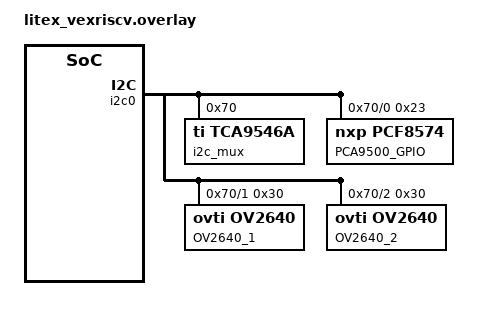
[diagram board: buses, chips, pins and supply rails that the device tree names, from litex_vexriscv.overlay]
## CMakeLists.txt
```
# Copyright (c) 2021-2022 Antmicro
# SPDX-License-Identifier: Apache-2.0

cmake_minimum_required(VERSION 3.13.1)
find_package(Zephyr REQUIRED HINTS $ENV{ZEPHYR_BASE})
project(video-overlays-app)

FILE(GLOB app_sources src/*.c)

target_include_directories(app PRIVATE include)

target_sources(app PRIVATE ${app_sources})
```

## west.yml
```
manifest:

  remotes:
    - name: zephyrproject-rtos
      url-base: https://github.com/zephyrproject-rtos
    - name: zephyrproject-antmicro
      url-base: https://github.com/antmicro
  defaults:
    remote: zephyrproject-antmicro
  projects:
    - name: zephyr
      remote: zephyrproject-antmicro
      revision: video-overlays
      import: true
```

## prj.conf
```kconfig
# Copyright (c) 2021-2022 Antmicro
# SPDX-License-Identifier: Apache-2.0

CONFIG_SHELL=y
CONFIG_SHELL_PROMPT_UART="video-overlays:~$ "

# Network
CONFIG_NET_UDP=y
CONFIG_NETWORKING=y
CONFIG_NET_IPV4=y
CONFIG_NET_SOCKETS=y
CONFIG_NET_SOCKETS_POSIX_NAMES=y
CONFIG_NET_SOCKETS_POLL_MAX=5

CONFIG_NET_CONFIG_SETTINGS=y
CONFIG_NET_CONFIG_PEER_IPV4_ADDR="192.0.2.2"
CONFIG_NET_CONFIG_MY_IPV4_ADDR="192.0.2.1"
CONFIG_NET_CONFIG_MY_IPV4_GW="192.0.2.2"

# Enable I2C MUX driver for two cameras and GPIO expander
CONFIG_I2C_TCA9546A=y
CONFIG_I2C_TCA9546_ROOT_INIT_PRIO=61
CONFIG_I2C_TCA9546_CHANNEL_INIT_PRIO=62

# Enable GPIO expander driver
CONFIG_GPIO_PCF8574=y
CONFIG_GPIO_PCF8574_INIT_PRIORITY=63

# Enable camera driver
CONFIG_VIDEO=y
CONFIG_VIDEO_OV2640=y

# Enable FastVDMA driver
CONFIG_DMA=y
CONFIG_DMA_LITEX_FASTVDMA=y

CONFIG_LOG=y
CONFIG_DMA_LOG_LEVEL_DBG=y
CONFIG_I2C_LOG_LEVEL_DBG=y
CONFIG_GPIO_LOG_LEVEL_DBG=y

#Timing subsystem
CONFIG_TIMING_FUNCTIONS=y
```

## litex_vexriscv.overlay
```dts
&uart0 {
	reg = <0xf0002800 0x20>;
	interrupts = <0x0 0>;
};

&timer0 {
	reg = <0xf0003000 0x40>;
	interrupts = <0x1 0>;
};

&eth0 {
	reg = <0xf0001800 0x6b 0x80000000 0x2000>;
	interrupts = <0x2 0>;
};

&i2c0 {
	reg = <0xf0000000 0x4 0xf0000004 0x4>;
	label = "i2c0";
	mux: tca9546a@70 {
		compatible = "ti,tca9546a";
		reg = <0x70>;
		status = "okay";
		label = "i2c_mux";
		#address-cells = <1>;
		#size-cells = <0>;

		mux_i2c@0 {
			label = "mux_dw_0";
			reg = <0>;
			status = "okay";
			#address-cells = <1>;
			#size-cells = <0>;
			compatible = "ti,tca9546a-channel";

			pcf8574@23 {
				compatible = "nxp,pcf8574";
				reg = <0x23>;
				label = "PCA9500_GPIO";
				status = "okay";
				ngpios = <8>;
				#gpio-cells = <2>;
				gpio-controller;
			};
		};

		mux_i2c@1 {
			label = "mux_dw_1";
			reg = <1>;
			status = "okay";
			#address-cells = <1>;
			#size-cells = <0>;
			compatible = "ti,tca9546a-channel";

			ov2640@30 {
				compatible = "ovti,ov2640";
				reg = <0x30>;
				label = "OV2640_1";
				status = "okay";
			};
		};

		mux_i2c@2 {
			label = "mux_dw_2";
			reg = <2>;
			status = "okay";
			#address-cells = <1>;
			#size-cells = <0>;
			compatible = "ti,tca9546a-channel";

			ov2640@30 {
				compatible = "ovti,ov2640";
				reg = <0x30>;
				label = "OV2640_2";
				status = "okay";
			};
		};
	};
};

&fastvdma_1 {
	status = "okay";
	label = "FASTVDMA_1";
	reg = <0x8000a000 0x4
		0x8000a004 0x1
		0x8000a008 0x1
		0x8000a00c 0x1
		0x8000a010 0x1
		0x8000a014 0x1
		0x8000a018 0x1
		0x8000a01c 0x1
		0x8000a020 0x1
		0x8000a024 0x1
		0x8000a028 0x1
		0x8000a02c 0x1
		0xf0000800 0x1
		0xf0000804 0x1
		0xf0000808 0x1>;
	interrupts = <0x3 0>;
};

&fastvdma_2 {
	status = "okay";
	label = "FASTVDMA_2";
	reg = <0x8000b000 0x4
		0x8000b004 0x1
		0x8000b008 0x1
		0x8000b00c 0x1
		0x8000b010 0x1
		0x8000b014 0x1
		0x8000b018 0x1
		0x8000b01c 0x1
		0x8000b020 0x1
		0x8000b024 0x1
		0x8000b028 0x1
		0x8000b02c 0x1
		0xf0001000 0x1
		0xf0001004 0x1
		0xf0001008 0x1>;
	interrupts = <0x4 0>;
};

&fastvdma_gpu_in_1 {
	status = "okay";
	label = "FASTVDMA_GPU_IN_1";
	reg = <0x8000c000 0x4
		0x8000c004 0x1
		0x8000c008 0x1
		0x8000c00c 0x1
		0x8000c010 0x1
		0x8000c014 0x1
		0x8000c018 0x1
		0x8000c01c 0x1
		0x8000c020 0x1
		0x8000c024 0x1
		0x8000c028 0x1
		0x8000c02c 0x1
		0xf0004800 0x1
		0xf0004804 0x1
		0xf0004808 0x1>;
	interrupts = <0x5 0>;
};

&fastvdma_gpu_in_2 {
	status = "okay";
	label = "FASTVDMA_GPU_IN_2";
	reg = <0x8000d000 0x4
		0x8000d004 0x1
		0x8000d008 0x1
		0x8000d00c 0x1
		0x8000d010 0x1
		0x8000d014 0x1
		0x8000d018 0x1
		0x8000d01c 0x1
		0x8000d020 0x1
		0x8000d024 0x1
		0x8000d028 0x1
		0x8000d02c 0x1
		0xf0005000 0x1
		0xf0005004 0x1
		0xf0005008 0x1>;
	interrupts = <0x6 0>;
};

&fastvdma_gpu_out {
	status = "okay";
	label = "FASTVDMA_GPU_OUT";
	reg = <0x8000e000 0x4
		0x8000e004 0x1
		0x8000e008 0x1
		0x8000e00c 0x1
		0x8000e010 0x1
		0x8000e014 0x1
		0x8000e018 0x1
		0x8000e01c 0x1
		0x8000e020 0x1
		0x8000e024 0x1
		0x8000e028 0x1
		0x8000e02c 0x1
		0xf0005800 0x1
		0xf0005804 0x1
		0xf0005808 0x1>;
	interrupts = <0x7 0>;
};

&gpio_in {
	status = "disabled";
};
```

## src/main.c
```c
/*
 * Copyright (c) 2021-2022 Antmicro
 *
 * SPDX-License-Identifier: Apache-2.0
 */

#include <zephyr.h>
#include <device.h>
#include <net/net_ip.h>
#include <stdio.h>
#include <net/socket.h>
#include <drivers/video.h>
#include <drivers/dma.h>
#include <drivers/gpio.h>
#include <timing/timing.h>

#include <logging/log.h>
LOG_MODULE_REGISTER(app);

#include "net.h"

#define OV2640_1 "OV2640_1"
#define OV2640_2 "OV2640_2"
#define FASTVDMA_1 "FASTVDMA_1"
#define FASTVDMA_2 "FASTVDMA_2"
#define FASTVDMA_GPU_IN_1 "FASTVDMA_GPU_IN_1"
#define FASTVDMA_GPU_IN_2 "FASTVDMA_GPU_IN_2"
#define FASTVDMA_GPU_OUT "FASTVDMA_GPU_OUT"
#define GPIO_EXPANDER "PCA9500_GPIO"

#define MY_STACK_SIZE 500
#define MY_PRIORITY 5

/* Implement function to flush cache memory for DMA */
#define CONFIG_L2_SIZE 8192
#define MAIN_RAM_BASE 0x40000000L

#define STACKSIZE 1024
#define PRIORITY 7

const struct device *ov2640_dev_1;
const struct device *ov2640_dev_2;
const struct device *fastvdma_dev_cam_1;
const struct device *fastvdma_dev_cam_2;
const struct device *fastvdma_dev_gpu_in_1;
const struct device *fastvdma_dev_gpu_in_2;
const struct device *fastvdma_dev_gpu_out;
const struct device *gpio_expander;

uint32_t img_buff_1[1280 * 1024];
uint32_t img_buff_2[1280 * 1024];
uint32_t img_buff_3[1280 * 1024];
uint32_t img_buff_4[1280 * 1024];
uint32_t img_buff_5[1280 * 1024];
uint32_t img_buff_6[1280 * 1024];
uint32_t img_buff_7[1280 * 1024];

uint32_t* hdmi_buffers[3] = {img_buff_1, img_buff_2, img_buff_3};
uint32_t* hdmi_buffers_overlay[3] = {img_buff_4, img_buff_5, img_buff_6};

uint32_t image_with_text[1280 * 1024];
uint32_t img_length_1 = 1280 * 1024;
uint32_t img_length_2 = 1280 * 1024;

int cam_buffer_index = 0;
int gpu_buffer_index = 0;

struct video_format fmt_1;
struct video_format fmt_2;
struct video_caps caps;

struct dma_config dma_cfg_cam1 = { 0 };
struct dma_config dma_cfg_cam2 = { 0 };
struct dma_config dma_cfg_gpu_in = { 0 };
struct dma_config dma_cfg_gpu_out = { 0 };
struct dma_block_config dma_block_cfg_cam = { 0 };
struct dma_block_config dma_block_cfg_gpu_in = { 0 };
struct dma_block_config dma_block_cfg_gpu_out = { 0 };

enum mode {cams, overlay } mode;
enum mode mode = cams;

char overlay_text[25] = "Video Overlays 2022";

const k_tid_t hdmi_id;
const k_tid_t cam_id;
const k_tid_t gpu_id;

bool suspend_hdmi = false;
bool suspend_cam = false;
bool suspend_gpu = false;


timing_t start_time_cam, end_time_cam;
timing_t start_time_gpu, end_time_gpu;
uint64_t measures_cam[100] = {0};
int n_measure_cam = 0;
uint64_t measures_gpu[100] = {0};
int n_measure_gpu = 0;

struct k_sem my_sem;

K_THREAD_DEFINE(hdmi_id, STACKSIZE, hdmi, NULL, NULL, NULL, PRIORITY, 0, 0);

K_THREAD_DEFINE(cam_id, STACKSIZE, cam, NULL, NULL, NULL, PRIORITY, 0, 0);

K_THREAD_DEFINE(gpu_id, STACKSIZE, gpu, NULL, NULL, NULL, PRIORITY, 0, 0);

void flush_l2_cache(void)
{
#ifdef CONFIG_L2_SIZE
	unsigned int i;
	for (i = 0; i < 2 * CONFIG_L2_SIZE / 4; i++) {
		((volatile unsigned int *)MAIN_RAM_BASE)[i];
	}
#endif
}

void led_chaser()
{
	int pin = 0;
	gpio_port_pins_t mask_high = 0xf;
	gpio_port_pins_t mask_low = 0x0;
	while (true) {
		if (pin == 4) {
			pin = 0;
		}

		mask_high ^= BIT(pin);
		mask_low ^= BIT(pin);

		gpio_port_set_masked(gpio_expander, mask_high, 0xf);
		gpio_port_set_masked(gpio_expander, mask_low, 0x0);

		k_msleep(110);
		pin++;
	}
}

K_THREAD_DEFINE(my_tid, MY_STACK_SIZE, led_chaser, NULL, NULL, NULL, MY_PRIORITY, 0, 0);

void print_camera_caps(const struct device *dev)
{
	if (video_get_caps(dev, VIDEO_EP_OUT, &caps)) {
		printf("Unable to retrieve video capabilities");
		return;
	}

	int i = 0;
	printk("- Capabilities:\n");
	while (caps.format_caps[i].pixelformat) {
		const struct video_format_cap *fcap = &caps.format_caps[i];
		/* fourcc to string */
		printk("  %c%c%c%c width [%u; %u; %u] height [%u; %u; %u]\n",
		       (char)fcap->pixelformat, (char)(fcap->pixelformat >> 8),
		       (char)(fcap->pixelformat >> 16), (char)(fcap->pixelformat >> 24),
		       fcap->width_min, fcap->width_max, fcap->width_step, fcap->height_min,
		       fcap->height_max, fcap->height_step);
		i++;
	}
}

int get_camera_fmt(const struct device *dev, struct video_format *fmt)
{
	/* Get default/native format - camera 1 */
	if (video_get_format(dev, VIDEO_EP_OUT, fmt)) {
		printf("Unable to retrieve video format");
		return -1;
	}

	printf("- Default format: %c%c%c%c %ux%u\n", (char)fmt->pixelformat,
	       (char)(fmt->pixelformat >> 8), (char)(fmt->pixelformat >> 16),
	       (char)(fmt->pixelformat >> 24), fmt->width, fmt->height);

	return 0;
}

void main(void)
{
	k_sem_init(&my_sem, 0, 1);
	suspend_threads();

    timing_init();
	timing_start();

	ov2640_dev_1 = device_get_binding(OV2640_1);
	ov2640_dev_2 = device_get_binding(OV2640_2);
	fastvdma_dev_cam_1 = device_get_binding(FASTVDMA_1);
	fastvdma_dev_cam_2 = device_get_binding(FASTVDMA_2);
	fastvdma_dev_gpu_in_1 = device_get_binding(FASTVDMA_GPU_IN_1);
	fastvdma_dev_gpu_in_2 = device_get_binding(FASTVDMA_GPU_IN_2);
	fastvdma_dev_gpu_out = device_get_binding(FASTVDMA_GPU_OUT);
	gpio_expander = device_get_binding(GPIO_EXPANDER);

	if (ov2640_dev_1 == NULL || ov2640_dev_2 == NULL) {
		printf("ov2640 camera binding failed.\n");
		return;
	}

	if (fastvdma_dev_cam_1 == NULL || fastvdma_dev_cam_2 == NULL) {
		printf("fastvdma binding failed.\n");
		return;
	}

	if (fastvdma_dev_gpu_in_1 == NULL || fastvdma_dev_gpu_in_2 == NULL ||
	    fastvdma_dev_gpu_out == NULL) {
		printf("GPU fastvdma binding failed.\n");
		return;
	}

	/* Initialize all 5 DMAs */
	dma_init_cam1();
	dma_init_cam2();
	dma_init_gpu_inputs();
	dma_init_gpu_output();


	print_camera_caps(ov2640_dev_1);
	print_camera_caps(ov2640_dev_2);

	get_camera_fmt(ov2640_dev_1, &fmt_1);
	get_camera_fmt(ov2640_dev_2, &fmt_2);

	if (init_socket()) {
		printf("Failed to configure sockets.\n");
		return;
	};
}
```

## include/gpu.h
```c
/* GPU */
typedef struct {
	uint8_t CR;			/* offset 0x00*/
	uint8_t FILL_CLR;	/* offset 0x04*/
	uint8_t FILL_CLR_2;	/* offset 0x08*/
	uint8_t FILL_CLR_3;	/* offset 0x0C*/
	uint8_t FILL_CLR_4;	/* offset 0x10*/
} GPU_typedef;

#ifndef CSR_BASE
#define CSR_BASE	(0xf0000000L)
#endif

/* GPU */
#define GPU_BASE	(CSR_BASE + 0x4000L)
#define GPU			((volatile GPU_typedef*) GPU_BASE)

/* GPU operating modes */
#define GPU_CR_IDLE				((uint32_t)0x00000000)
#define GPU_CR_ALPHA_BLENDER	((uint32_t)0x00000001)
#define GPU_CR_FILL_AREA		((uint32_t)0x00000002)

/* Colors */
#define CLR_RED		((uint32_t)0xFF0000FF)
#define CLR_GREEN	((uint32_t)0xFF00FF00)
#define CLR_BLUE	((uint32_t)0xFFFF0000)
```

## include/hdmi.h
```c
/*
 * Copyright (c) 2021-2022 Antmicro
 *
 * SPDX-License-Identifier: Apache-2.0
 */

#define INITIATOR_ENABLE_REG 		0x3818L
#define INITIATOR_HSCAN_HI 			0x3834L
#define INITIATOR_HSCAN_LOW 		0x3838L
#define INITIATOR_HRES_HI 			0x381cL
#define INITIATOR_HRES_LOW 			0x3820L
#define INITIATOR_HSYNC_START_HI 	0x3824L
#define INITIATOR_HSYNC_START_LOW 	0x3828L
#define INITIATOR_HSYNC_END_HI 		0x382cL
#define INITIATOR_HSYNC_END_LOW 	0x3830L
#define INITIATOR_VRES_HI 			0x383cL
#define INITIATOR_VRES_LOW 			0x3840L
#define INITIATOR_VSYNC_START_HI 	0x3844L
#define INITIATOR_VSYNC_START_LOW 	0x3848L
#define INITIATOR_VSYNC_END_HI 		0x384cL
#define INITIATOR_VSYNC_END_LOW 	0x3850L
#define INITIATOR_VSCAN_HI	 		0x3854L
#define INITIATOR_VSCAN_LOW 		0x3858L
#define INITIATOR_BASE_BYTE_0 		0x385cL
#define INITIATOR_BASE_BYTE_1 		0x3860L
#define INITIATOR_BASE_BYTE_2 		0x3864L
#define INITIATOR_BASE_BYTE_3 		0x3868L
#define INITIATOR_LENGTH_BYTE_0 	0x386cL
#define INITIATOR_LENGTH_BYTE_1 	0x3870L
#define INITIATOR_LENGTH_BYTE_2 	0x3874L
#define INITIATOR_LENGTH_BYTE_3 	0x3878L

#define CLOCKING_MMCM_RESET_REG 	0x388cL
#define CLOCKING_MMCM_REG 			0x3894L
#define CLOCKING_MMCM_DRDY_REG 		0x3898L
#define CLOCKING_MMCM_ADR_REG 		0x389cL
#define CLOCKING_MMCM_DAT_REG_HI 	0x38a0L
#define CLOCKING_MMCM_DAT_REG_LOW 	0x38a4L

#define HDMI_RESET	0x38b0L

#ifndef CSR_BASE
#define CSR_BASE 0xf0000000L
#endif

/* Default structure for HDMI timings */
struct video_timing {
	int pixel_clock;
	int h_active;
	int h_blanking;
	int h_sync_offset;
	int h_sync_width;
	int v_active;
	int v_blanking;
	int v_sync_offset;
	int v_sync_width;
	int established_timing;
	int flags;
};

/* Framebuffer timings configuration */
void fb_get_clock_md(unsigned int pixel_clock, unsigned int *best_m, unsigned int *best_d);
void fb_set_clock(unsigned int pixel_clock);
void timings_write(struct video_timing *vid_t);
void fb_clkgen_write(int m, int d);

/* Initiator configuration */
uint8_t hdmi_out0_core_initiator_enable_read(void);
void hdmi_out0_core_initiator_enable_write(uint8_t v);
uint32_t hdmi_out0_core_initiator_hscan_read();
void hdmi_out0_core_initiator_hscan_write(uint16_t v);
uint32_t hdmi_out0_core_initiator_hres_read();
void hdmi_out0_core_initiator_hres_write(uint16_t v);
uint32_t hdmi_out0_core_initiator_hsync_start_read();
void hdmi_out0_core_initiator_hsync_start_write(uint16_t v);
uint32_t hdmi_out0_core_initiator_hsync_end_read();
void hdmi_out0_core_initiator_hsync_end_write(uint16_t v);
uint32_t hdmi_out0_core_initiator_vres_read();
void hdmi_out0_core_initiator_vres_write(uint16_t v);
uint32_t hdmi_out0_core_initiator_vsync_start_read();
void hdmi_out0_core_initiator_vsync_start_write(uint16_t v);
uint32_t hdmi_out0_core_initiator_vsync_end_read();
void hdmi_out0_core_initiator_vsync_end_write(uint16_t v);
uint32_t hdmi_out0_core_initiator_vscan_read();
void hdmi_out0_core_initiator_vscan_write(uint16_t v);
uint32_t hdmi_out0_core_initiator_length_read();
void hdmi_out0_core_initiator_length_write(uint32_t v);
uint32_t hdmi_out0_core_initiator_base_read();
void hdmi_out0_core_initiator_base_write(uint32_t v);

/* MMCM configuration */
uint8_t hdmi_out0_driver_clocking_mmcm_write_read(void);
void hdmi_out0_driver_clocking_mmcm_write_write(int v);
uint8_t hdmi_out0_driver_clocking_mmcm_adr_read(void);
void hdmi_out0_driver_clocking_mmcm_adr_write(uint8_t v);
uint16_t hdmi_out0_driver_clocking_mmcm_dat_w_read(void);
void hdmi_out0_driver_clocking_mmcm_dat_w_write(uint16_t v);
uint8_t hdmi_out0_driver_clocking_mmcm_drdy_read(void);
uint8_t hdmi_out0_driver_clocking_mmcm_reset_read(void);
void hdmi_out0_driver_clocking_mmcm_reset_write(uint8_t v);
void hdmi_out0_driver_clocking_mmcm_write(int adr, int data);

/* Reset HDMI core */
void hdmi_out0_reset_write(uint8_t v);
void hdmi_out0_reset_regs();

void hdmi_out0_status();
```

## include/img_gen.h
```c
/*
 * Copyright (c) 2021-2022 Antmicro
 *
 * SPDX-License-Identifier: Apache-2.0
 */

void generate_image_with_text(uint32_t image_with_text[], int width, int height);
```

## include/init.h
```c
/*
 * Copyright (c) 2021-2022 Antmicro
 *
 * SPDX-License-Identifier: Apache-2.0
 */

extern const struct device *fastvdma_dev_cam_1;
extern const struct device *fastvdma_dev_cam_2;
extern const struct device *fastvdma_dev_gpu_in_1;
extern const struct device *fastvdma_dev_gpu_in_2;
extern const struct device *fastvdma_dev_gpu_out;
extern struct dma_config dma_cfg_cam1;
extern struct dma_config dma_cfg_cam2;
extern struct dma_config dma_cfg_gpu_in;
extern struct dma_config dma_cfg_gpu_out;
extern struct dma_block_config dma_block_cfg_cam;
extern struct dma_block_config dma_block_cfg_gpu_in;
extern struct dma_block_config dma_block_cfg_gpu_out;
extern uint32_t image_with_text[1280 * 1024];
extern uint32_t img_buff_1[1280 * 1024];
extern uint32_t img_buff_2[1280 * 1024];
extern uint32_t img_buff_3[1280 * 1024];
extern uint32_t img_buff_4[1280 * 1024];
extern uint32_t img_buff_5[1280 * 1024];
extern uint32_t img_buff_6[1280 * 1024];
extern uint32_t img_buff_7[1280 * 1024];
extern uint32_t *hdmi_buffers[3];
extern uint32_t *hdmi_buffers_overlay[3];
extern int cam_buffer_index;
extern int gpu_buffer_index;

extern int block_buff[3];
extern int blocked_buff_gpu;
extern int blocked_buff_cam;
extern bool callback_cam_block;
extern bool callback_gpu_block;

extern const k_tid_t cam_id;
extern const k_tid_t gpu_id;
extern const k_tid_t hdmi_id;

extern bool suspend_hdmi;
extern bool suspend_cam;
extern bool suspend_gpu;

extern timing_t start_time_cam, end_time_cam;
extern timing_t start_time_gpu, end_time_gpu;
extern uint64_t measures_cam[100];
extern int n_measure_cam;
extern uint64_t measures_gpu[100];
extern int n_measure_gpu;

extern enum mode mode;
extern struct k_sem my_sem;

void cam1_dma_user_callback(const struct device *dma_dev, void *arg, uint32_t id, int error_code);
void cam_with_gpu_dma_user_callback(const struct device *dma_dev, void *arg, uint32_t id, int error_code);
void cam2_dma_user_callback(const struct device *dma_dev, void *arg, uint32_t id, int error_code);
void gpu_in_dma_user_callback(const struct device *dma_dev, void *arg, uint32_t id, int error_code);
void gpu_out_dma_user_callback(const struct device *dma_dev, void *arg, uint32_t id, int error_code);
void dma_init_cam1();
void dma_init_cam2();
void dma_init_gpu_inputs();
void dma_init_gpu_output();
void hdmi(void);
void cam(void);
void gpu(void);
void suspend_threads();
void hdmi_out0_core_initiator_base_write(uint32_t v);
void hdmi_out0_core_initiator_enable_write(uint8_t v);
```

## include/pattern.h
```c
/*
 * Copyright (c) 2021-2022 Antmicro
 *
 * SPDX-License-Identifier: Apache-2.0
 */

#include <zephyr.h>
extern uint32_t img_buff_7[1280 * 1024];
#define RGB_WHITE  0x00ffffff
#define RGB_YELLOW 0x0000ffff
#define RGB_CYAN   0x00ffff00
#define RGB_GREEN  0x0000ff00
#define RGB_PURPLE 0x00ff00ff
#define RGB_RED    0x000000ff
#define RGB_BLUE   0x00ff0000
#define RGB_BLACK  0x00000000
void draw_pattern(int h_active, int v_active);
void draw_color(int h_active, int v_active, int color);
void draw_color2(int h_active, int v_active, int color);
void draw_image(int h_active, int v_active);
```

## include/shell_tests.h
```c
#include "img_gen.h"
#include "gpu.h"
#include "init.h"

extern const struct device* ov2640_dev_1;
extern const struct device* ov2640_dev_2;
extern const struct device* fastvdma_dev_cam_1;
extern const struct device* fastvdma_dev_cam_2;
extern const struct device* fastvdma_dev_gpu_in_1;
extern const struct device* fastvdma_dev_gpu_in_2;
extern const struct device* fastvdma_dev_gpu_out;
extern uint32_t img_buff_1[1280 * 1024];
extern uint32_t img_buff_2[1280 * 1024];
extern uint32_t img_buff_3[1280 * 1024];
extern uint32_t img_buff_4[1280 * 1024];
extern uint32_t img_buff_5[1280 * 1024];
extern uint32_t img_buff_6[1280 * 1024];
extern uint32_t img_buff_7[1280 * 1024];
extern uint32_t* hdmi_buffers[3];
extern uint32_t* hdmi_buffers_overlay[3];
extern uint32_t img_length_1;
extern uint32_t img_length_2;
extern struct video_format fmt_1;
extern struct video_format fmt_2;
extern struct video_caps caps;
extern struct dma_config dma_cfg_cam1;
extern struct dma_config dma_cfg_cam2;
extern struct dma_config dma_cfg_gpu_in;
extern struct dma_config dma_cfg_gpu_out;
extern struct dma_block_config dma_block_cfg_cam;
extern struct dma_block_config dma_block_cfg_gpu_in;
extern struct dma_block_config dma_block_cfg_gpu_out;
extern uint32_t image_with_text[800 * 600];

extern int cam_buffer_index;
extern int gpu_buffer_index;

extern const k_tid_t hdmi_id;
extern const k_tid_t gpu_id;
extern const k_tid_t cam_id;

extern bool suspend_hdmi;
extern bool suspend_cam;
extern bool suspend_gpu;

extern enum mode{cams, overlay} mode;
extern enum mode mode;

extern timing_t start_time_cam, end_time_cam;
extern timing_t start_time_gpu, end_time_gpu;
extern uint64_t measures_cam[100];
extern int n_measure_cam;
extern uint64_t measures_gpu[100];
extern int n_measure_gpu;

extern char* overlay_text;

extern struct k_sem my_sem;

#define CHAR_CAN 0x18
#define CHAR_DC1 0x11

void flush_l2_cache(void);
void blend_images(uint32_t read_addr1, uint32_t read_addr2, uint32_t write_addr);
```

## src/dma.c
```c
#include <sys/printk.h>
#include "dma.h"

void dma_deinit1(DMA_typedef *DMA) {
    DMA->CR = 0x0;
}

void dma_init1(DMA_typedef *DMA) {
    DMA->CR = 0x0F;
}

void dma_sanity_check1(DMA_typedef *DMA) {
    printk("CR: %u\n", DMA->CR);
    printk("SR: %u\n", DMA->SR);
    printk("IMR: %u\n", DMA->IMR);
    printk("ISR: %u\n", DMA->ISR);
    printk("RSAR: %u\n", DMA->RSAR);
    printk("RLLR: %u\n", DMA->RLLR);
    printk("RLCR: %u\n", DMA->RLCR);
    printk("RSBLR: %u\n", DMA->RSBLR);
    printk("WSAR: %u\n", DMA->WSAR);
    printk("WLLR: %u\n", DMA->WLLR);
    printk("WLCR: %u\n", DMA->WLCR);
    printk("WSBLR: %u\n", DMA->WSBLR);
}

void dma_config1(DMA_typedef *DMA, DMA_init_typedef *DMA_struct) {
    dma_reader_frontend_config1(DMA, DMA_struct);
    dma_writer_frontend_config1(DMA, DMA_struct);
}

void dma_reader_frontend_config1(DMA_typedef *DMA, DMA_init_typedef *DMA_struct) {
    DMA->RSAR = DMA_struct->read_addr;
    DMA->RLLR = DMA_struct->read_line_length;
    DMA->RLCR = DMA_struct->read_line_count;
    DMA->RSBLR = DMA_struct->read_line_stride;
}

void dma_writer_frontend_config1(DMA_typedef *DMA, DMA_init_typedef *DMA_struct) {
    DMA->WSAR = DMA_struct->write_addr;
    DMA->WLLR = DMA_struct->write_line_length;
    DMA->WLCR = DMA_struct->write_line_count;
    DMA->WSBLR = DMA_struct->write_line_stride;
}

/* END OF FILE ****************************************************************/
```

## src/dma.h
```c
#ifndef __DMA_H
#define __DMA_H

#ifdef __cplusplus
    extern "C" {
#endif /* __cplusplus */

#include <zephyr.h>
#include "litex_vexriscv.h"

/**
  * @brief DMA init structure definition
  */
typedef struct {
    uint32_t read_addr;
    uint32_t read_line_length;
    uint32_t read_line_count;
    uint32_t read_line_stride;
    uint32_t write_addr;
    uint32_t write_line_length;
    uint32_t write_line_count;
    uint32_t write_line_stride;
} DMA_init_typedef;

/* DMA initialization and configuration functions ----------------------------*/
void dma_deinit1(DMA_typedef *DMA);
void dma_init1(DMA_typedef *DMA);
void dma_sanity_check1(DMA_typedef *DMA);

void dma_config1(DMA_typedef *DMA, DMA_init_typedef *DMA_struct);
void dma_reader_frontend_config1(DMA_typedef *DMA, DMA_init_typedef *DMA_struct);
void dma_writer_frontend_config1(DMA_typedef *DMA, DMA_init_typedef *DMA_struct);

#ifdef __cplusplus
}
#endif /* __cplusplus */

#endif /* __DMA_H */

/* END OF FILE ****************************************************************/
```

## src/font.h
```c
/* Source: https://courses.cs.washington.edu/courses/cse457/98a/tech/OpenGL/font.c */

char font[][13] = {
    {0x00, 0x00, 0x00, 0x00, 0x00, 0x00, 0x00, 0x00, 0x00, 0x00, 0x00, 0x00, 0x00}, // space
    {0x00, 0x00, 0x18, 0x18, 0x00, 0x00, 0x18, 0x18, 0x18, 0x18, 0x18, 0x18, 0x18}, // !
    {0x00, 0x00, 0x00, 0x00, 0x00, 0x00, 0x00, 0x00, 0x00, 0x36, 0x36, 0x36, 0x36}, // "
    {0x00, 0x00, 0x00, 0x66, 0x66, 0xff, 0x66, 0x66, 0xff, 0x66, 0x66, 0x00, 0x00}, // #
    {0x00, 0x00, 0x18, 0x7e, 0xff, 0x1b, 0x1f, 0x7e, 0xf8, 0xd8, 0xff, 0x7e, 0x18}, // $
    {0x00, 0x00, 0x0e, 0x1b, 0xdb, 0x6e, 0x30, 0x18, 0x0c, 0x76, 0xdb, 0xd8, 0x70}, // %
    {0x00, 0x00, 0x7f, 0xc6, 0xcf, 0xd8, 0x70, 0x70, 0xd8, 0xcc, 0xcc, 0x6c, 0x38}, // &
    {0x00, 0x00, 0x00, 0x00, 0x00, 0x00, 0x00, 0x00, 0x00, 0x18, 0x1c, 0x0c, 0x0e}, // '
    {0x00, 0x00, 0x0c, 0x18, 0x30, 0x30, 0x30, 0x30, 0x30, 0x30, 0x30, 0x18, 0x0c}, // (
    {0x00, 0x00, 0x30, 0x18, 0x0c, 0x0c, 0x0c, 0x0c, 0x0c, 0x0c, 0x0c, 0x18, 0x30}, // )
    {0x00, 0x00, 0x00, 0x00, 0x99, 0x5a, 0x3c, 0xff, 0x3c, 0x5a, 0x99, 0x00, 0x00}, // *
    {0x00, 0x00, 0x00, 0x18, 0x18, 0x18, 0xff, 0xff, 0x18, 0x18, 0x18, 0x00, 0x00}, // +
    {0x00, 0x00, 0x30, 0x18, 0x1c, 0x1c, 0x00, 0x00, 0x00, 0x00, 0x00, 0x00, 0x00}, // ,
    {0x00, 0x00, 0x00, 0x00, 0x00, 0x00, 0xff, 0xff, 0x00, 0x00, 0x00, 0x00, 0x00}, // -
    {0x00, 0x00, 0x00, 0x38, 0x38, 0x00, 0x00, 0x00, 0x00, 0x00, 0x00, 0x00, 0x00}, // .
    {0x00, 0x60, 0x60, 0x30, 0x30, 0x18, 0x18, 0x0c, 0x0c, 0x06, 0x06, 0x03, 0x03}, // /
    {0x00, 0x00, 0x3c, 0x66, 0xc3, 0xe3, 0xf3, 0xdb, 0xcf, 0xc7, 0xc3, 0x66, 0x3c}, // 0
    {0x00, 0x00, 0x7e, 0x18, 0x18, 0x18, 0x18, 0x18, 0x18, 0x18, 0x78, 0x38, 0x18}, // 1
    {0x00, 0x00, 0xff, 0xc0, 0xc0, 0x60, 0x30, 0x18, 0x0c, 0x06, 0x03, 0xe7, 0x7e}, // 2
    {0x00, 0x00, 0x7e, 0xe7, 0x03, 0x03, 0x07, 0x7e, 0x07, 0x03, 0x03, 0xe7, 0x7e}, // 3
    {0x00, 0x00, 0x0c, 0x0c, 0x0c, 0x0c, 0x0c, 0xff, 0xcc, 0x6c, 0x3c, 0x1c, 0x0c}, // 4
    {0x00, 0x00, 0x7e, 0xe7, 0x03, 0x03, 0x07, 0xfe, 0xc0, 0xc0, 0xc0, 0xc0, 0xff}, // 5
    {0x00, 0x00, 0x7e, 0xe7, 0xc3, 0xc3, 0xc7, 0xfe, 0xc0, 0xc0, 0xc0, 0xe7, 0x7e}, // 6
    {0x00, 0x00, 0x30, 0x30, 0x30, 0x30, 0x18, 0x0c, 0x06, 0x03, 0x03, 0x03, 0xff}, // 7
    {0x00, 0x00, 0x7e, 0xe7, 0xc3, 0xc3, 0xe7, 0x7e, 0xe7, 0xc3, 0xc3, 0xe7, 0x7e}, // 8
    {0x00, 0x00, 0x7e, 0xe7, 0x03, 0x03, 0x03, 0x7f, 0xe7, 0xc3, 0xc3, 0xe7, 0x7e}, // 9
    {0x00, 0x00, 0x00, 0x38, 0x38, 0x00, 0x00, 0x38, 0x38, 0x00, 0x00, 0x00, 0x00}, // :
    {0x00, 0x00, 0x30, 0x18, 0x1c, 0x1c, 0x00, 0x00, 0x1c, 0x1c, 0x00, 0x00, 0x00}, // ;
    {0x00, 0x00, 0x06, 0x0c, 0x18, 0x30, 0x60, 0xc0, 0x60, 0x30, 0x18, 0x0c, 0x06}, // <
    {0x00, 0x00, 0x00, 0x00, 0xff, 0xff, 0x00, 0xff, 0xff, 0x00, 0x00, 0x00, 0x00}, // =
    {0x00, 0x00, 0x60, 0x30, 0x18, 0x0c, 0x06, 0x03, 0x06, 0x0c, 0x18, 0x30, 0x60}, // >
    {0x00, 0x00, 0x18, 0x00, 0x00, 0x18, 0x18, 0x0c, 0x06, 0x03, 0xc3, 0xc3, 0x7e}, // ?
    {0x00, 0x00, 0x3f, 0x60, 0xcf, 0xdb, 0xd3, 0xdd, 0xc3, 0x7e, 0x00, 0x00, 0x00}, // @
    {0x00, 0x00, 0xc3, 0xc3, 0xc3, 0xc3, 0xff, 0xc3, 0xc3, 0xc3, 0x66, 0x3c, 0x18}, // A
    {0x00, 0x00, 0xfe, 0xc7, 0xc3, 0xc3, 0xc7, 0xfe, 0xc7, 0xc3, 0xc3, 0xc7, 0xfe}, // B
    {0x00, 0x00, 0x7e, 0xe7, 0xc0, 0xc0, 0xc0, 0xc0, 0xc0, 0xc0, 0xc0, 0xe7, 0x7e}, // C
    {0x00, 0x00, 0xfc, 0xce, 0xc7, 0xc3, 0xc3, 0xc3, 0xc3, 0xc3, 0xc7, 0xce, 0xfc}, // D
    {0x00, 0x00, 0xff, 0xc0, 0xc0, 0xc0, 0xc0, 0xfc, 0xc0, 0xc0, 0xc0, 0xc0, 0xff}, // E
    {0x00, 0x00, 0xc0, 0xc0, 0xc0, 0xc0, 0xc0, 0xc0, 0xfc, 0xc0, 0xc0, 0xc0, 0xff}, // F
    {0x00, 0x00, 0x7e, 0xe7, 0xc3, 0xc3, 0xcf, 0xc0, 0xc0, 0xc0, 0xc0, 0xe7, 0x7e}, // G
    {0x00, 0x00, 0xc3, 0xc3, 0xc3, 0xc3, 0xc3, 0xff, 0xc3, 0xc3, 0xc3, 0xc3, 0xc3}, // H
    {0x00, 0x00, 0x7e, 0x18, 0x18, 0x18, 0x18, 0x18, 0x18, 0x18, 0x18, 0x18, 0x7e}, // I
    {0x00, 0x00, 0x7c, 0xee, 0xc6, 0x06, 0x06, 0x06, 0x06, 0x06, 0x06, 0x06, 0x06}, // J
    {0x00, 0x00, 0xc3, 0xc6, 0xcc, 0xd8, 0xf0, 0xe0, 0xf0, 0xd8, 0xcc, 0xc6, 0xc3}, // K
    {0x00, 0x00, 0xff, 0xc0, 0xc0, 0xc0, 0xc0, 0xc0, 0xc0, 0xc0, 0xc0, 0xc0, 0xc0}, // L
    {0x00, 0x00, 0xc3, 0xc3, 0xc3, 0xc3, 0xc3, 0xc3, 0xdb, 0xff, 0xff, 0xe7, 0xc3}, // M
    {0x00, 0x00, 0xc7, 0xc7, 0xcf, 0xcf, 0xdf, 0xdb, 0xfb, 0xf3, 0xf3, 0xe3, 0xe3}, // N
    {0x00, 0x00, 0x7e, 0xe7, 0xc3, 0xc3, 0xc3, 0xc3, 0xc3, 0xc3, 0xc3, 0xe7, 0x7e}, // O
    {0x00, 0x00, 0xc0, 0xc0, 0xc0, 0xc0, 0xc0, 0xfe, 0xc7, 0xc3, 0xc3, 0xc7, 0xfe}, // P
    {0x00, 0x00, 0x3f, 0x6e, 0xdf, 0xdb, 0xc3, 0xc3, 0xc3, 0xc3, 0xc3, 0x66, 0x3c}, // Q
    {0x00, 0x00, 0xc3, 0xc6, 0xcc, 0xd8, 0xf0, 0xfe, 0xc7, 0xc3, 0xc3, 0xc7, 0xfe}, // R
    {0x00, 0x00, 0x7e, 0xe7, 0x03, 0x03, 0x07, 0x7e, 0xe0, 0xc0, 0xc0, 0xe7, 0x7e}, // S
    {0x00, 0x00, 0x18, 0x18, 0x18, 0x18, 0x18, 0x18, 0x18, 0x18, 0x18, 0x18, 0xff}, // T
    {0x00, 0x00, 0x7e, 0xe7, 0xc3, 0xc3, 0xc3, 0xc3, 0xc3, 0xc3, 0xc3, 0xc3, 0xc3}, // U
    {0x00, 0x00, 0x18, 0x3c, 0x3c, 0x66, 0x66, 0xc3, 0xc3, 0xc3, 0xc3, 0xc3, 0xc3}, // V
    {0x00, 0x00, 0xc3, 0xe7, 0xff, 0xff, 0xdb, 0xdb, 0xc3, 0xc3, 0xc3, 0xc3, 0xc3}, // W
    {0x00, 0x00, 0xc3, 0x66, 0x66, 0x3c, 0x3c, 0x18, 0x3c, 0x3c, 0x66, 0x66, 0xc3}, // X
    {0x00, 0x00, 0x18, 0x18, 0x18, 0x18, 0x18, 0x18, 0x3c, 0x3c, 0x66, 0x66, 0xc3}, // Y
    {0x00, 0x00, 0xff, 0xc0, 0xc0, 0x60, 0x30, 0x7e, 0x0c, 0x06, 0x03, 0x03, 0xff}, // Z
    {0x00, 0x00, 0x3c, 0x30, 0x30, 0x30, 0x30, 0x30, 0x30, 0x30, 0x30, 0x30, 0x3c}, // [
    {0x00, 0x03, 0x03, 0x06, 0x06, 0x0c, 0x0c, 0x18, 0x18, 0x30, 0x30, 0x60, 0x60}, // backslash
    {0x00, 0x00, 0x3c, 0x0c, 0x0c, 0x0c, 0x0c, 0x0c, 0x0c, 0x0c, 0x0c, 0x0c, 0x3c}, // ]
    {0x00, 0x00, 0x00, 0x00, 0x00, 0x00, 0x00, 0x00, 0x00, 0xc3, 0x66, 0x3c, 0x18}, // ^
    {0xff, 0xff, 0x00, 0x00, 0x00, 0x00, 0x00, 0x00, 0x00, 0x00, 0x00, 0x00, 0x00}, // _
    {0x00, 0x00, 0x00, 0x00, 0x00, 0x00, 0x00, 0x00, 0x00, 0x18, 0x38, 0x30, 0x70}, // `
    {0x00, 0x00, 0x7f, 0xc3, 0xc3, 0x7f, 0x03, 0xc3, 0x7e, 0x00, 0x00, 0x00, 0x00}, // a
    {0x00, 0x00, 0xfe, 0xc3, 0xc3, 0xc3, 0xc3, 0xfe, 0xc0, 0xc0, 0xc0, 0xc0, 0xc0}, // b
    {0x00, 0x00, 0x7e, 0xc3, 0xc0, 0xc0, 0xc0, 0xc3, 0x7e, 0x00, 0x00, 0x00, 0x00}, // c
    {0x00, 0x00, 0x7f, 0xc3, 0xc3, 0xc3, 0xc3, 0x7f, 0x03, 0x03, 0x03, 0x03, 0x03}, // d
    {0x00, 0x00, 0x7f, 0xc0, 0xc0, 0xfe, 0xc3, 0xc3, 0x7e, 0x00, 0x00, 0x00, 0x00}, // e
    {0x00, 0x00, 0x30, 0x30, 0x30, 0x30, 0x30, 0xfc, 0x30, 0x30, 0x30, 0x33, 0x1e}, // f
    {0x7e, 0xc3, 0x03, 0x03, 0x7f, 0xc3, 0xc3, 0xc3, 0x7e, 0x00, 0x00, 0x00, 0x00}, // g
    {0x00, 0x00, 0xc3, 0xc3, 0xc3, 0xc3, 0xc3, 0xc3, 0xfe, 0xc0, 0xc0, 0xc0, 0xc0}, // h
    {0x00, 0x00, 0x18, 0x18, 0x18, 0x18, 0x18, 0x18, 0x18, 0x00, 0x00, 0x18, 0x00}, // i
    {0x38, 0x6c, 0x0c, 0x0c, 0x0c, 0x0c, 0x0c, 0x0c, 0x0c, 0x00, 0x00, 0x0c, 0x00}, // j
    {0x00, 0x00, 0xc6, 0xcc, 0xf8, 0xf0, 0xd8, 0xcc, 0xc6, 0xc0, 0xc0, 0xc0, 0xc0}, // k
    {0x00, 0x00, 0x7e, 0x18, 0x18, 0x18, 0x18, 0x18, 0x18, 0x18, 0x18, 0x18, 0x78}, // l
    {0x00, 0x00, 0xdb, 0xdb, 0xdb, 0xdb, 0xdb, 0xdb, 0xfe, 0x00, 0x00, 0x00, 0x00}, // m
    {0x00, 0x00, 0xc6, 0xc6, 0xc6, 0xc6, 0xc6, 0xc6, 0xfc, 0x00, 0x00, 0x00, 0x00}, // n
    {0x00, 0x00, 0x7c, 0xc6, 0xc6, 0xc6, 0xc6, 0xc6, 0x7c, 0x00, 0x00, 0x00, 0x00}, // o
    {0xc0, 0xc0, 0xc0, 0xfe, 0xc3, 0xc3, 0xc3, 0xc3, 0xfe, 0x00, 0x00, 0x00, 0x00}, // p
    {0x03, 0x03, 0x03, 0x7f, 0xc3, 0xc3, 0xc3, 0xc3, 0x7f, 0x00, 0x00, 0x00, 0x00}, // q
    {0x00, 0x00, 0xc0, 0xc0, 0xc0, 0xc0, 0xc0, 0xe0, 0xfe, 0x00, 0x00, 0x00, 0x00}, // r
    {0x00, 0x00, 0xfe, 0x03, 0x03, 0x7e, 0xc0, 0xc0, 0x7f, 0x00, 0x00, 0x00, 0x00}, // s
    {0x00, 0x00, 0x1c, 0x36, 0x30, 0x30, 0x30, 0x30, 0xfc, 0x30, 0x30, 0x30, 0x00}, // t
    {0x00, 0x00, 0x7e, 0xc6, 0xc6, 0xc6, 0xc6, 0xc6, 0xc6, 0x00, 0x00, 0x00, 0x00}, // u
    {0x00, 0x00, 0x18, 0x3c, 0x3c, 0x66, 0x66, 0xc3, 0xc3, 0x00, 0x00, 0x00, 0x00}, // v
    {0x00, 0x00, 0xc3, 0xe7, 0xff, 0xdb, 0xc3, 0xc3, 0xc3, 0x00, 0x00, 0x00, 0x00}, // w
    {0x00, 0x00, 0xc3, 0x66, 0x3c, 0x18, 0x3c, 0x66, 0xc3, 0x00, 0x00, 0x00, 0x00}, // x
    {0xc0, 0x60, 0x60, 0x30, 0x18, 0x3c, 0x66, 0x66, 0xc3, 0x00, 0x00, 0x00, 0x00}, // y
    {0x00, 0x00, 0xff, 0x60, 0x30, 0x18, 0x0c, 0x06, 0xff, 0x00, 0x00, 0x00, 0x00}, // z
    {0x00, 0x00, 0x0f, 0x18, 0x18, 0x18, 0x38, 0xf0, 0x38, 0x18, 0x18, 0x18, 0x0f}, // {
    {0x18, 0x18, 0x18, 0x18, 0x18, 0x18, 0x18, 0x18, 0x18, 0x18, 0x18, 0x18, 0x18}, // |
    {0x00, 0x00, 0xf0, 0x18, 0x18, 0x18, 0x1c, 0x0f, 0x1c, 0x18, 0x18, 0x18, 0xf0}, // }
    {0x00, 0x00, 0x00, 0x00, 0x00, 0x00, 0x06, 0x8f, 0xf1, 0x60, 0x00, 0x00, 0x00}, // ~
};
```

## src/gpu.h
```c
#ifndef __GPU_H
#define __GPU_H

#ifdef __cplusplus
    extern "C" {
#endif /* __cplusplus */

/* GPU operating modes */
#define GPU_CR_IDLE             ((uint32_t)0x00000000)
#define GPU_CR_ALPHA_BLENDER    ((uint32_t)0x00000001)
#define GPU_CR_FILL_AREA        ((uint32_t)0x00000002)

/* Colors */
#define CLR_RED                 ((uint32_t)0xFF0000FF)
#define CLR_GREEN               ((uint32_t)0xFF00FF00)
#define CLR_BLUE                ((uint32_t)0xFFFF0000)

#ifdef __cplusplus
}
#endif /* __cplusplus */

#endif  /* __GPU_H */

/* END OF FILE ****************************************************************/
```

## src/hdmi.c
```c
#include <zephyr.h>
#include <stdio.h>
#include <stdlib.h>

#include "hdmi.h"

/* Common read/write functions */
unsigned int read_reg(unsigned int offset) {
	volatile unsigned int *reg = (unsigned int*)(CSR_BASE + offset);
	return *reg;
}

void write_reg(unsigned int to_write, unsigned int offset){
	volatile unsigned int *reg = (unsigned int*)(CSR_BASE + offset);
	*reg = to_write;
}

/* Framebuffer timings configuration */
void fb_get_clock_md(unsigned int pixel_clock, unsigned int *best_m, unsigned int *best_d)
{
	unsigned int max_m, max_d;
	unsigned int ideal_m, ideal_d;
	unsigned int bm, bd;
	unsigned int m, d;
	unsigned int diff_current;
	unsigned int diff_tested;
	ideal_m = pixel_clock;
	bm = 1;
	bd = 0;
	pixel_clock = pixel_clock * 10;
	ideal_d = 1000;
	max_d = 128;
	max_m = 128;
	for(d=1;d<=max_d;d++)
		for(m=2;m<=max_m;m++) {
			/* common denominator is d*bd*ideal_d */
			diff_current = abs(d*ideal_d*bm - d*bd*ideal_m);
			diff_tested = abs(bd*ideal_d*m - d*bd*ideal_m);
			if(diff_tested < diff_current) {
				bm = m;
				bd = d;
			}
		}
	*best_m = bm;
	*best_d = bd;
}

void mmcm_config_for_clock(int pixel_clock)
{
	if(pixel_clock < 3000) {
		printf("Frequency too low for input MMCMs\n");
	}
	else if(pixel_clock < 6000) {
		hdmi_out0_driver_clocking_mmcm_write(0x14, 0x1000 | (10<<6) | 10); /* clkfbout_mult  = 20 */
		hdmi_out0_driver_clocking_mmcm_write(0x08, 0x1000 | (10<<6) | 10); /* clkout0_divide = 20 */
		hdmi_out0_driver_clocking_mmcm_write(0x0a, 0x1000 |  (8<<6) |  8); /* clkout1_divide = 16 */
		hdmi_out0_driver_clocking_mmcm_write(0x0c, 0x1000 |  (2<<6) |  2); /* clkout2_divide =  4 */
		hdmi_out0_driver_clocking_mmcm_write(0x0d, 0);                     /* clkout2_divide =  4 */
	}
	else if(pixel_clock < 12000) {
		hdmi_out0_driver_clocking_mmcm_write(0x14, 0x1000 |  (5<<6) | 5); /* clkfbout_mult  = 10 */
		hdmi_out0_driver_clocking_mmcm_write(0x08, 0x1000 |  (5<<6) | 5); /* clkout0_divide = 10 */
		hdmi_out0_driver_clocking_mmcm_write(0x0a, 0x1000 |  (4<<6) | 4); /* clkout1_divide =  8 */
		hdmi_out0_driver_clocking_mmcm_write(0x0c, 0x1000 |  (1<<6) | 1); /* clkout2_divide =  2 */
		hdmi_out0_driver_clocking_mmcm_write(0x0d, 0);                    /* clkout2_divide =  2 */
	}
	else if(pixel_clock < 24000){
		hdmi_out0_driver_clocking_mmcm_write(0x14, 0x1000 |  (2<<6) | 3);  /* clkfbout_mult  = 5 */
		hdmi_out0_driver_clocking_mmcm_write(0x08, 0x1000 |  (2<<6) | 3);  /* clkout0_divide = 5 */
		hdmi_out0_driver_clocking_mmcm_write(0x0a, 0x1000 |  (2<<6) | 2);  /* clkout1_divide = 4 */
		hdmi_out0_driver_clocking_mmcm_write(0x0c, 0x1000 |  (0<<6) | 0);  /* clkout2_divide = 1 */
		hdmi_out0_driver_clocking_mmcm_write(0x0d, (1<<6));                /* clkout2_divide = 1 */
	}
	else {
		printf("Frequency too high for input MMCMs\n");
	}
}

void fb_set_clock(unsigned int pixel_clock)
{
	unsigned int clock_m, clock_d;
	fb_get_clock_md(pixel_clock, &clock_m, &clock_d);
	fb_clkgen_write(clock_m, clock_d);
}

void timings_write(struct video_timing *vid_t){
	unsigned int hdmi_out0_enabled;
	if (hdmi_out0_core_initiator_enable_read()) {
		hdmi_out0_enabled = 1;
		hdmi_out0_core_initiator_enable_write(0);
	}
	hdmi_out0_driver_clocking_mmcm_reset_write(1);
	mmcm_config_for_clock(vid_t->pixel_clock);

	hdmi_out0_core_initiator_hres_write(vid_t->h_active);
	hdmi_out0_core_initiator_hsync_start_write(vid_t->h_active + vid_t->h_sync_offset);
	hdmi_out0_core_initiator_hsync_end_write(vid_t->h_active + vid_t->h_sync_offset + vid_t->h_sync_width);
	hdmi_out0_core_initiator_hscan_write(vid_t->h_active + vid_t->h_blanking);
	hdmi_out0_core_initiator_vres_write(vid_t->v_active);
	hdmi_out0_core_initiator_vsync_start_write(vid_t->v_active + vid_t->v_sync_offset);
	hdmi_out0_core_initiator_vsync_end_write(vid_t->v_active + vid_t->v_sync_offset + vid_t->v_sync_width);
	hdmi_out0_core_initiator_vscan_write(vid_t->v_active + vid_t->v_blanking);
	hdmi_out0_core_initiator_length_write(vid_t->h_active*vid_t->v_active*4);
	hdmi_out0_core_initiator_base_write(0);
	fb_set_clock(vid_t->pixel_clock);
	hdmi_out0_driver_clocking_mmcm_reset_write(0);
	hdmi_out0_core_initiator_enable_write(hdmi_out0_enabled);
}

void fb_clkgen_write(int m, int d)
{
	/* MMCM VCO range for slowest speed grade Artix-7 is 600MHz-1200MHz
	   Warn if the VCO strays outside these limits.*/
	if ((((m*100)/d) > 1200) || (((m*100)/d) < 600)) {
		printk(
			"WARNING: VCO freq (%uMHz) outside 600MHz-1200MHz range\n"
			"          M: %d, D: %d\n",
			(m*100)/d, m, d);
	} else {
		printk(
			"INFO: VCO freq: %uMHz, M: %d, D: %d\n", (m*100)/d, m, d);
	}
	/* clkfbout_mult = m */

	if(m%2){
		hdmi_out0_driver_clocking_mmcm_write(0x14, 0x1000 | ((m/2)<<6) | (m/2 + 1));
	}
	else{
		hdmi_out0_driver_clocking_mmcm_write(0x14, 0x1000 | ((m/2)<<6) | m/2);
	}
	/* divclk_divide = d */
	if (d == 1)
		hdmi_out0_driver_clocking_mmcm_write(0x16, 0x1000);
	else if(d%2)
		hdmi_out0_driver_clocking_mmcm_write(0x16, ((d/2)<<6) | (d/2 + 1));
	else
		hdmi_out0_driver_clocking_mmcm_write(0x16, ((d/2)<<6) | d/2);
	/* clkout0_divide = 10 */
	hdmi_out0_driver_clocking_mmcm_write(0x8, 0x1000 | (5<<6) | 5);
	/* clkout1_driver_clocking_divide = 2; */
	hdmi_out0_driver_clocking_mmcm_write(0xa, 0x1000 | (1<<6) | 1);
}


/* Initiator configuration */
uint8_t hdmi_out0_core_initiator_enable_read(void){
	return read_reg(INITIATOR_ENABLE_REG);
}

void hdmi_out0_core_initiator_enable_write(uint8_t v){
	write_reg(v, INITIATOR_ENABLE_REG);
}

void hdmi_out0_core_initiator_hscan_write(uint16_t v){
	write_reg(v >> 8, INITIATOR_HSCAN_HI);
	write_reg(v, INITIATOR_HSCAN_LOW);
}

uint32_t hdmi_out0_core_initiator_hscan_read(){
	return read_reg(INITIATOR_HSCAN_HI) << 8 |
			read_reg(INITIATOR_HSCAN_LOW);
}

void hdmi_out0_core_initiator_hres_write(uint16_t v){
	write_reg(v >> 8, INITIATOR_HRES_HI);
	write_reg(v, INITIATOR_HRES_LOW);
}

uint32_t hdmi_out0_core_initiator_hres_read(){
	return read_reg(INITIATOR_HRES_HI) << 8 |
			read_reg(INITIATOR_HRES_LOW);
}

void hdmi_out0_core_initiator_hsync_start_write(uint16_t v){
	write_reg(v >> 8, INITIATOR_HSYNC_START_HI);
	write_reg(v, INITIATOR_HSYNC_START_LOW);
}

uint32_t hdmi_out0_core_initiator_hsync_start_read(){
	return read_reg(INITIATOR_HSYNC_START_HI) << 8 |
			read_reg(INITIATOR_HSYNC_START_LOW);
}

void hdmi_out0_core_initiator_hsync_end_write(uint16_t v){
	write_reg(v >> 8, INITIATOR_HSYNC_END_HI);
	write_reg(v, INITIATOR_HSYNC_END_LOW);
}

uint32_t hdmi_out0_core_initiator_hsync_end_read(){
	return read_reg(INITIATOR_HSYNC_END_HI) << 8 |
			read_reg(INITIATOR_HSYNC_END_LOW);
}

void hdmi_out0_core_initiator_vres_write(uint16_t v){
	write_reg(v >> 8, INITIATOR_VRES_HI);
	write_reg(v, INITIATOR_VRES_LOW);
}

uint32_t hdmi_out0_core_initiator_vres_read(){
	return read_reg(INITIATOR_VRES_HI) << 8 |
			read_reg(INITIATOR_VRES_LOW);
}

void hdmi_out0_core_initiator_vsync_start_write(uint16_t v){
	write_reg(v >> 8, INITIATOR_VSYNC_START_HI);
	write_reg(v, INITIATOR_VSYNC_START_LOW);
}

uint32_t hdmi_out0_core_initiator_vsync_start_read(){
	return read_reg(INITIATOR_VSYNC_START_HI) << 8 |
			read_reg(INITIATOR_VSYNC_START_LOW);
}

void hdmi_out0_core_initiator_vsync_end_write(uint16_t v){
	write_reg(v >> 8, INITIATOR_VSYNC_END_HI);
	write_reg(v, INITIATOR_VSYNC_END_LOW);
}

uint32_t hdmi_out0_core_initiator_vsync_end_read(){
	return read_reg(INITIATOR_VSYNC_END_HI) << 8 |
			read_reg(INITIATOR_VSYNC_END_LOW);
}

void hdmi_out0_core_initiator_vscan_write(uint16_t v){
	write_reg(v >> 8, INITIATOR_VSCAN_HI);
	write_reg(v, INITIATOR_VSCAN_LOW);
}

uint32_t hdmi_out0_core_initiator_vscan_read(){
	return read_reg(INITIATOR_VSCAN_HI) << 8 |
			read_reg(INITIATOR_VSCAN_LOW);
}

void hdmi_out0_core_initiator_length_write(uint32_t v){
	write_reg(v >> 24, INITIATOR_LENGTH_BYTE_0);
	write_reg(v >> 16, INITIATOR_LENGTH_BYTE_1);
	write_reg(v >> 8, INITIATOR_LENGTH_BYTE_2);
	write_reg(v, INITIATOR_LENGTH_BYTE_3);
}

uint32_t hdmi_out0_core_initiator_length_read(){
	return read_reg(INITIATOR_LENGTH_BYTE_0) << 24 |
			read_reg(INITIATOR_LENGTH_BYTE_1) << 16 |
			read_reg(INITIATOR_LENGTH_BYTE_2) << 8 |
			read_reg(INITIATOR_LENGTH_BYTE_3);
}

void hdmi_out0_core_initiator_base_write(uint32_t v){
	write_reg(v >> 24, INITIATOR_BASE_BYTE_0);
	write_reg(v >> 16, INITIATOR_BASE_BYTE_1);
	write_reg(v >> 8, INITIATOR_BASE_BYTE_2);
	write_reg(v, INITIATOR_BASE_BYTE_3);
}

uint32_t hdmi_out0_core_initiator_base_read(){
	return read_reg(INITIATOR_BASE_BYTE_0) << 24 |
			read_reg(INITIATOR_BASE_BYTE_1) << 16 |
			read_reg(INITIATOR_BASE_BYTE_2) << 8 |
			read_reg(INITIATOR_BASE_BYTE_3);
}

/* MMCM configuration */
uint8_t hdmi_out0_driver_clocking_mmcm_write_read(void){
	return read_reg(CLOCKING_MMCM_REG);
}
void hdmi_out0_driver_clocking_mmcm_write_write(int v){
	write_reg(v, CLOCKING_MMCM_REG);
}

uint8_t hdmi_out0_driver_clocking_mmcm_adr_read(void){
	return read_reg(CLOCKING_MMCM_ADR_REG);
}
void hdmi_out0_driver_clocking_mmcm_adr_write(uint8_t v){
	write_reg(v, CLOCKING_MMCM_ADR_REG);
}

uint16_t hdmi_out0_driver_clocking_mmcm_dat_w_read(void){
	return read_reg(CLOCKING_MMCM_DAT_REG_HI) << 8 |
			read_reg(CLOCKING_MMCM_DAT_REG_LOW);
}
void hdmi_out0_driver_clocking_mmcm_dat_w_write(uint16_t v){
	write_reg(v >> 8, CLOCKING_MMCM_DAT_REG_HI);
	write_reg(v, CLOCKING_MMCM_DAT_REG_LOW);
}

uint8_t hdmi_out0_driver_clocking_mmcm_drdy_read(void){
	return read_reg(CLOCKING_MMCM_DRDY_REG);
}

uint8_t hdmi_out0_driver_clocking_mmcm_reset_read(void){
	return read_reg(CLOCKING_MMCM_RESET_REG);
}
void hdmi_out0_driver_clocking_mmcm_reset_write(uint8_t v){
	write_reg(v, CLOCKING_MMCM_RESET_REG);
}

void hdmi_out0_driver_clocking_mmcm_write(int adr, int data)
{
	hdmi_out0_driver_clocking_mmcm_adr_write(adr);
	hdmi_out0_driver_clocking_mmcm_dat_w_write(data);
	hdmi_out0_driver_clocking_mmcm_write_write(1);
	while(!hdmi_out0_driver_clocking_mmcm_drdy_read());
}

void hdmi_out0_reset_write(uint8_t v)
{
	write_reg(v, HDMI_RESET);
}

void hdmi_out0_reset_regs()
{
	hdmi_out0_core_initiator_hres_write(0);
	hdmi_out0_core_initiator_hsync_start_write(0);
	hdmi_out0_core_initiator_hsync_end_write(0);
	hdmi_out0_core_initiator_hscan_write(0);
	hdmi_out0_core_initiator_vres_write(0);
	hdmi_out0_core_initiator_vsync_start_write(0);
	hdmi_out0_core_initiator_vsync_end_write(0);
	hdmi_out0_core_initiator_vscan_write(0);
	hdmi_out0_core_initiator_length_write(0);
	hdmi_out0_core_initiator_base_write(0);
	hdmi_out0_core_initiator_enable_write(0);

	hdmi_out0_driver_clocking_mmcm_write(0x14, 0);
	hdmi_out0_driver_clocking_mmcm_write(0x16, 0);
	hdmi_out0_driver_clocking_mmcm_write(0x8, 0);
	hdmi_out0_driver_clocking_mmcm_write(0xa, 0);
}

void hdmi_out0_status()
{
	printf("===== HDMI configuration =====\n");
	printf("enable: 0x%x\n", hdmi_out0_core_initiator_enable_read());
	printf("hscan: 0x%x\n", hdmi_out0_core_initiator_hscan_read());
	printf("hres: 0x%x\n", hdmi_out0_core_initiator_hres_read());
	printf("vres: 0x%x\n", hdmi_out0_core_initiator_vres_read());
	printf("hsync_start: 0x%x\n", hdmi_out0_core_initiator_hsync_start_read());
	printf("hsync_end: 0x%x\n", hdmi_out0_core_initiator_hsync_end_read());
	printf("vsync_start: 0x%x\n", hdmi_out0_core_initiator_vsync_start_read());
	printf("vsync_end: 0x%x\n", hdmi_out0_core_initiator_vsync_end_read());
	printf("vscan: 0x%x\n", hdmi_out0_core_initiator_vscan_read());
	printf("length: 0x%x\n", hdmi_out0_core_initiator_length_read());
	printf("base: 0x%x\n\n", hdmi_out0_core_initiator_base_read());

	printf("===== MMCM configuration =====\n");
	printf("write: 0x%x\n", hdmi_out0_driver_clocking_mmcm_write_read());
	printf("adr: 0x%x\n", hdmi_out0_driver_clocking_mmcm_adr_read());
	printf("dat_w: 0x%x\n", hdmi_out0_driver_clocking_mmcm_dat_w_read());
	printf("drdy: 0x%x\n", hdmi_out0_driver_clocking_mmcm_drdy_read());
	printf("reset: 0x%x\n\n", hdmi_out0_driver_clocking_mmcm_reset_read());
}
```

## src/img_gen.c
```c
/*
 * Copyright (c) 2021-2022 Antmicro
 *
 * SPDX-License-Identifier: Apache-2.0
 */

#include <zephyr.h>
#include <string.h>

#include "font.h"

extern char overlay_text[25];

void generate_image_with_text(uint32_t image_with_text[], int width, int height)
{
	int color = 0xff000000; // black
	int text_len = strlen(overlay_text);

	for (int i = 0; i < width * height; i++) {
		image_with_text[i] = 0;
	}

	for(int k = 0; k < text_len; k++) {
		int v_offset;
		int h_offset = 10;
		int character = overlay_text[k] - ' ';

		if(width < 480) {
			v_offset = height - 30;
		} else {
			v_offset = height - 70;
		}

		/* Write at [v_offset * width][h_offset + char_offset + char_bit] */
		for(int i = 12; i >= 0; i --) {
			if(width < 480) {
				if ((font[character][i] >> 7) & 1) {
					image_with_text[v_offset * width + h_offset + (k * 13) + 0] = color;
				}
				if ((font[character][i] >> 6) & 1) {
					image_with_text[v_offset * width + h_offset + (k * 13) + 1] = color;
				}
				if ((font[character][i] >> 5) & 1) {
					image_with_text[v_offset * width + h_offset + (k * 13) + 2] = color;
				}
				if ((font[character][i] >> 4) & 1) {
					image_with_text[v_offset * width + h_offset + (k * 13) + 3] = color;
				}
				if ((font[character][i] >> 3) & 1) {
					image_with_text[v_offset * width + h_offset + (k * 13) + 4] = color;
				}
				if ((font[character][i] >> 2) & 1) {
					image_with_text[v_offset * width + h_offset + (k * 13) + 5] = color;
				}
				if ((font[character][i] >> 1) & 1) {
					image_with_text[v_offset * width + h_offset + (k * 13) + 6] = color;
				}
				if ((font[character][i] >> 0) & 1) {
					image_with_text[v_offset * width + h_offset + (k * 13) + 7] = color;
				}
				v_offset++;
			} else {
				if ((font[character][i] >> 7) & 1) {
					image_with_text[(v_offset + 0) * width + h_offset + (k * 13 * 2) + 0] = color;
					image_with_text[(v_offset + 0) * width + h_offset + (k * 13 * 2) + 1] = color;
					image_with_text[(v_offset + 1) * width + h_offset + (k * 13 * 2) + 0] = color;
					image_with_text[(v_offset + 1) * width + h_offset + (k * 13 * 2) + 1] = color;
				}
				if ((font[character][i] >> 6) & 1) {
					image_with_text[(v_offset + 0) * width + h_offset + (k * 13 * 2) + 2] = color;
					image_with_text[(v_offset + 0) * width + h_offset + (k * 13 * 2) + 3] = color;
					image_with_text[(v_offset + 1) * width + h_offset + (k * 13 * 2) + 2] = color;
					image_with_text[(v_offset + 1) * width + h_offset + (k * 13 * 2) + 3] = color;
				}
				if ((font[character][i] >> 5) & 1) {
					image_with_text[(v_offset + 0) * width + h_offset + (k * 13 * 2) + 4] = color;
					image_with_text[(v_offset + 0) * width + h_offset + (k * 13 * 2) + 5] = color;
					image_with_text[(v_offset + 1) * width + h_offset + (k * 13 * 2) + 4] = color;
					image_with_text[(v_offset + 1) * width + h_offset + (k * 13 * 2) + 5] = color;
				}
				if ((font[character][i] >> 4) & 1) {
					image_with_text[(v_offset + 0) * width + h_offset + (k * 13 * 2) + 6] = color;
					image_with_text[(v_offset + 0) * width + h_offset + (k * 13 * 2) + 7] = color;
					image_with_text[(v_offset + 1) * width + h_offset + (k * 13 * 2) + 6] = color;
					image_with_text[(v_offset + 1) * width + h_offset + (k * 13 * 2) + 7] = color;
				}
				if ((font[character][i] >> 3) & 1) {
					image_with_text[(v_offset + 0) * width + h_offset + (k * 13 * 2) + 8] = color;
					image_with_text[(v_offset + 0) * width + h_offset + (k * 13 * 2) + 9] = color;
					image_with_text[(v_offset + 1) * width + h_offset + (k * 13 * 2) + 8] = color;
					image_with_text[(v_offset + 1) * width + h_offset + (k * 13 * 2) + 9] = color;
				}
				if ((font[character][i] >> 2) & 1) {
					image_with_text[(v_offset + 0) * width + h_offset + (k * 13 * 2) + 10] = color;
					image_with_text[(v_offset + 0) * width + h_offset + (k * 13 * 2) + 11] = color;
					image_with_text[(v_offset + 1) * width + h_offset + (k * 13 * 2) + 10] = color;
					image_with_text[(v_offset + 1) * width + h_offset + (k * 13 * 2) + 11] = color;
				}
				if ((font[character][i] >> 1) & 1) {
					image_with_text[(v_offset + 0) * width + h_offset + (k * 13 * 2) + 12] = color;
					image_with_text[(v_offset + 0) * width + h_offset + (k * 13 * 2) + 13] = color;
					image_with_text[(v_offset + 1) * width + h_offset + (k * 13 * 2) + 12] = color;
					image_with_text[(v_offset + 1) * width + h_offset + (k * 13 * 2) + 13] = color;
				}
				if ((font[character][i] >> 0) & 1) {
					image_with_text[(v_offset + 0) * width + h_offset + (k * 13 * 2) + 14] = color;
					image_with_text[(v_offset + 0) * width + h_offset + (k * 13 * 2) + 15] = color;
					image_with_text[(v_offset + 1) * width + h_offset + (k * 13 * 2) + 14] = color;
					image_with_text[(v_offset + 1) * width + h_offset + (k * 13 * 2) + 15] = color;
				}
				v_offset += 2;
			}
		}
	}
}
```
